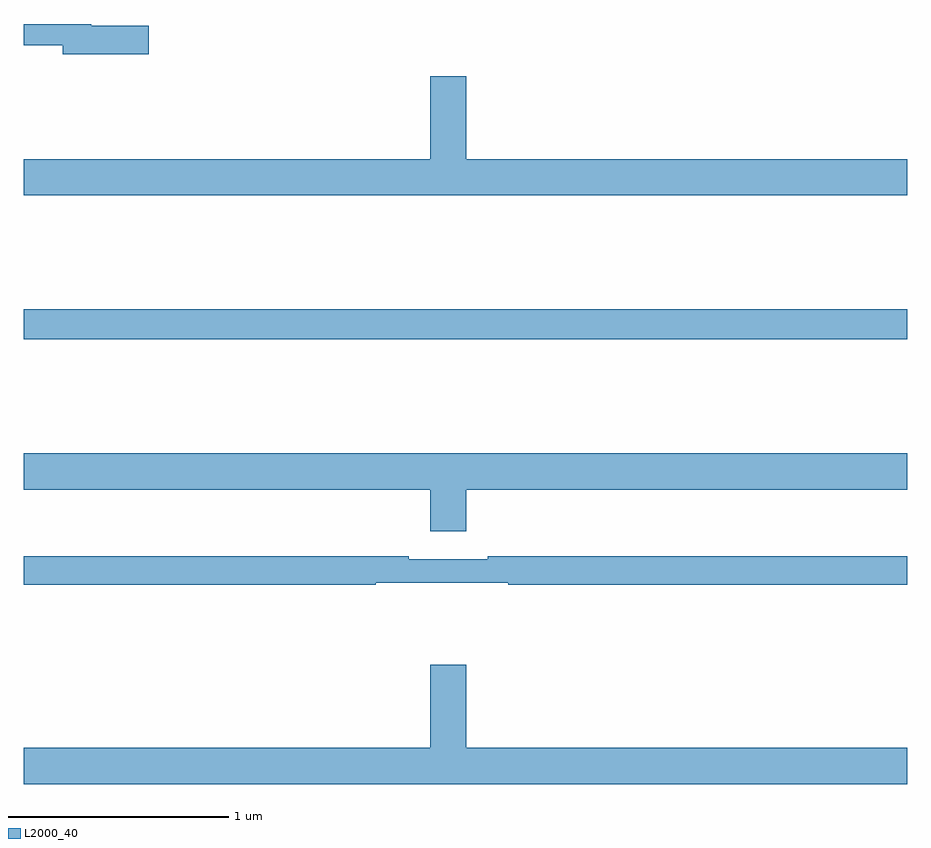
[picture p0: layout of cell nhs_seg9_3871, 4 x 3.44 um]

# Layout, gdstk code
import gdstk
lib = gdstk.Library(unit=1e-6, precision=1e-09)
def R(c, l, rs):  # rectangles x0, y0, x1, y1
    for r in rs: c.add(gdstk.rectangle(r[:2], r[2:], *l))
def P(c, l, *ps):  # polygons
    for p in ps: c.add(gdstk.Polygon(p, *l))
L2000_40 = (2000, 40)

nhs_seg9_3871 = lib.new_cell('nhs_seg9_3871')
R(nhs_seg9_3871, L2000_40, [(331,1225.072,335,1225.208)])
P(nhs_seg9_3871, L2000_40, [(331.567,1226.491),(331.306,1226.491),(331.306,1226.5),(331,1226.5),(331,1226.404),(331.178,1226.404),(331.178,1226.362),(331.567,1226.362)],
  [(335,1225.888),(333.004,1225.888),(333.004,1226.263),(332.84,1226.263),(332.84,1225.888),(331,1225.888),(331,1225.724),(335,1225.724)],
  [(333.004,1224.392),(335,1224.392),(335,1224.556),(331,1224.556),(331,1224.392),(332.84,1224.392),(332.84,1224.204),(333.004,1224.204)],
  [(332.594,1223.97),(333.194,1223.97),(333.194,1223.962),(335,1223.962),(335,1224.091),(333.1,1224.091),(333.1,1224.078),(332.744,1224.078),(332.744,1224.091),(331,1224.091),(331,1223.962),(332.594,1223.962)],
  [(335,1223.224),(333.004,1223.224),(333.004,1223.599),(332.84,1223.599),(332.84,1223.224),(331,1223.224),(331,1223.06),(335,1223.06)])

lib.write_gds('nhs_seg9_3871.gds')
